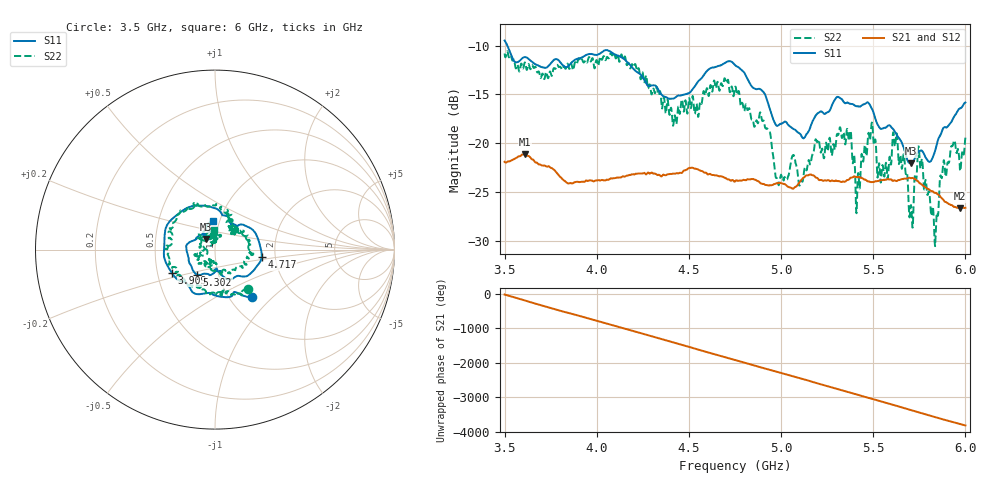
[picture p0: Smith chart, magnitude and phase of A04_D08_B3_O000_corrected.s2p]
! Created with skrf 1.9.0 (http://scikit-rf.org).
# Hz S RI R 50.0
!freq ReS11 ImS11 ReS21 ImS21 ReS12 ImS12 ReS22 ImS22
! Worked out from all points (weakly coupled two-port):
!   1601 points, 3.5 GHz to 6 GHz, reference 50 ohm
!   highest |S21| = -21.14 dB at 3.609 GHz (marker M1); lowest = -26.6 dB at 5.972 GHz (marker M2)
!   lowest |S11| = -22.1 dB at 5.703 GHz (marker M3), VSWR 1.17, Z = 44.8 + j5.34 ohm
!   |S11| at or under -10 dB: 3.515 GHz to end of sweep
!   |S22| runs from -30.5 to -10.6 dB; largest |S21 - S12| = 0.0011
!   S11 on the Smith chart (normalised r, x): 3.5 GHz: 1.26, -0.76; 3.909 GHz: 0.60, -0.17; 4.717 GHz: 1.69, -0.15; 5.302 GHz: 0.79, -0.23; 6 GHz: 0.93, +0.31
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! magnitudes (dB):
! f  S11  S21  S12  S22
! 3.5 GHz  -9.5  -21.9  -21.9  -10.8
! 3.609 GHz  -11.2  -21.1  -21.2  -11.7
! 3.909 GHz  -11.3  -24.0  -24.0  -11.5
! 3.917 GHz  -11.2  -24.0  -24.0  -11.5
! 4.334 GHz  -14.5  -23.2  -23.2  -15.0
! 4.717 GHz  -11.6  -23.7  -23.8  -14.2
! 4.75 GHz  -12.0  -23.9  -23.9  -14.3
! 4.931 GHz  -16.0  -24.3  -24.3  -18.7
! 4.981 GHz  -18.2  -24.1  -24.1  -23.9
! 5.167 GHz  -17.9  -23.3  -23.2  -21.4
! 5.302 GHz  -15.3  -23.9  -23.8  -19.2
! 5.369 GHz  -15.9  -23.7  -23.7  -19.7
! 5.416 GHz  -16.2  -23.5  -23.5  -23.6
! 5.484 GHz  -16.2  -24.0  -23.9  -19.4
! 5.584 GHz  -18.2  -23.7  -23.7  -22.2
! 5.62 GHz  -18.9  -23.8  -23.9  -20.1
! 5.703 GHz  -22.1  -23.6  -23.6  -26.4
! 5.752 GHz  -20.8  -24.1  -24.1  -21.6
! 5.839 GHz  -20.5  -25.1  -25.1  -29.4
! 5.875 GHz  -18.7  -25.7  -25.7  -23.1
! 5.972 GHz  -16.4  -26.6  -26.6  -22.8
! 6 GHz  -15.8  -26.6  -26.6  -19.4
